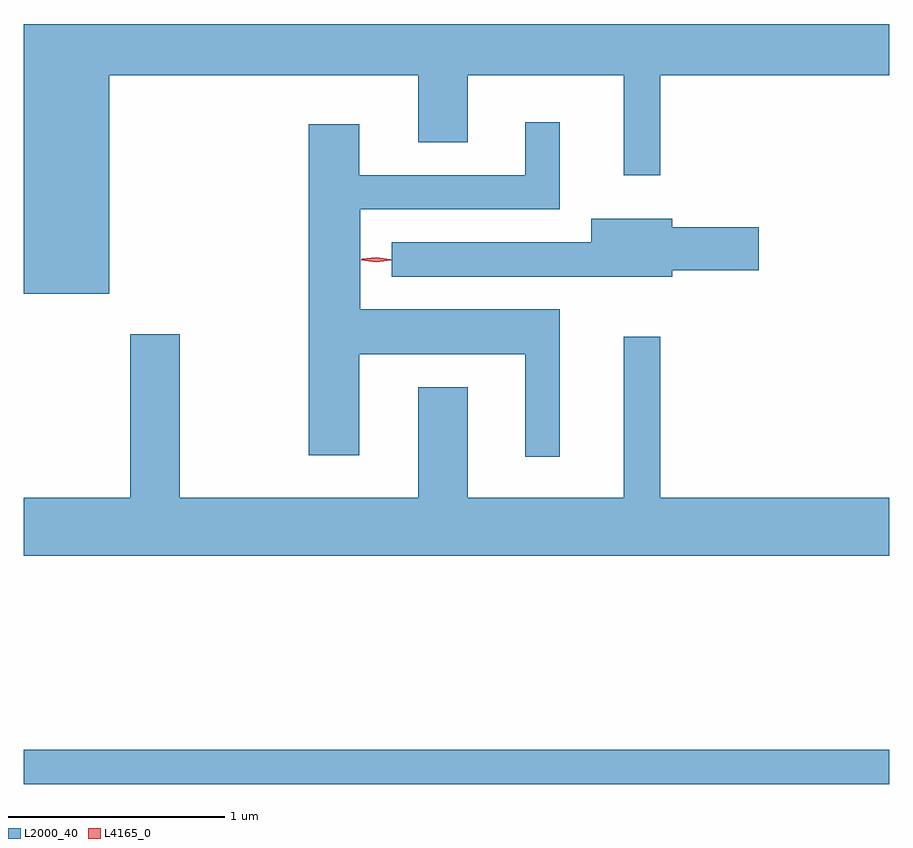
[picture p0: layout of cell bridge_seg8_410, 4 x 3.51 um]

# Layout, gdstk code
import gdstk
lib = gdstk.Library(unit=1e-6, precision=1e-09)
def R(c, l, rs):  # rectangles x0, y0, x1, y1
    for r in rs: c.add(gdstk.rectangle(r[:2], r[2:], *l))
def P(c, l, *ps):  # polygons
    for p in ps: c.add(gdstk.Polygon(p, *l))
L2000_40 = (2000, 40)
L4165_0 = (4165, 0)

bridge_seg8_410 = lib.new_cell('bridge_seg8_410')
R(bridge_seg8_410, L2000_40, [(816.338,1815.381,820.338,1815.539)])
P(bridge_seg8_410, L2000_40, [(816.734,1818.656),(818.161,1818.656),(818.161,1818.346),(818.389,1818.346),(818.389,1818.656),(819.111,1818.656),(819.111,1818.193),(819.279,1818.193),(819.279,1818.656),(820.338,1818.656),(820.338,1818.893),(816.338,1818.893),(816.338,1817.646),(816.734,1817.646)],
  [(818.814,1817.574),(817.894,1817.574),(817.894,1818.036),(818.814,1818.036),(818.814,1818.438),(818.656,1818.438),(818.656,1818.194),(817.889,1818.194),(817.889,1818.429),(817.656,1818.429),(817.656,1816.901),(817.889,1816.901),(817.889,1817.366),(818.656,1817.366),(818.656,1816.893),(818.814,1816.893)],
  [(819.334,1817.756),(819.734,1817.756),(819.734,1817.954),(819.334,1817.954),(819.334,1817.994),(818.961,1817.994),(818.961,1817.884),(818.038,1817.884),(818.038,1817.726),(819.334,1817.726)],
  [(820.338,1816.704),(819.279,1816.704),(819.279,1817.448),(819.111,1817.448),(819.111,1816.704),(818.389,1816.704),(818.389,1817.214),(818.161,1817.214),(818.161,1816.704),(817.059,1816.704),(817.059,1817.459),(816.831,1817.459),(816.831,1816.704),(816.338,1816.704),(816.338,1816.436),(820.338,1816.436)])
P(bridge_seg8_410, L4165_0, [(817.967,1817.792),(817.898,1817.802),(817.897,1817.802),(817.898,1817.803),(817.967,1817.812),(818.036,1817.803),(818.036,1817.802),(818.036,1817.802)],
  [(817.966,1817.796),(817.901,1817.807),(817.9,1817.807),(817.901,1817.808),(817.967,1817.816),(818.032,1817.805),(818.033,1817.805),(818.032,1817.804)])

lib.write_gds('bridge_seg8_410.gds')
